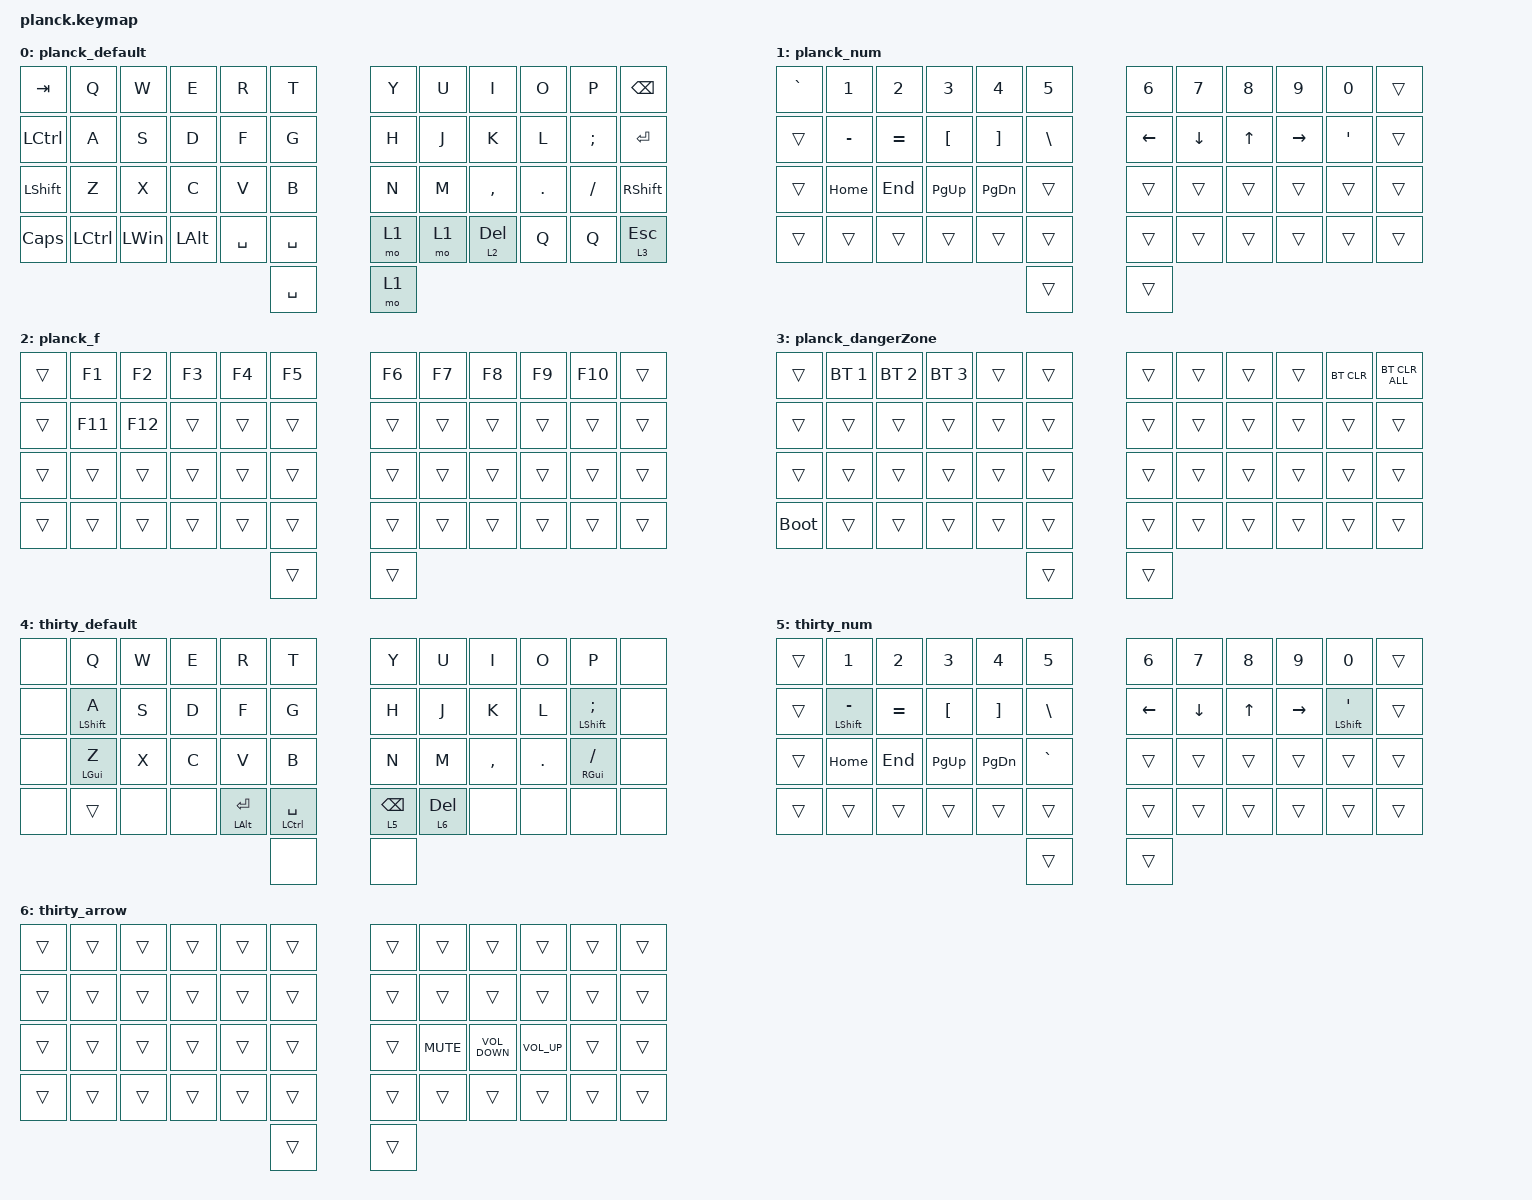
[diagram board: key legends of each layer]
/*
* Copyright (c) 2021 The ZMK Contributors
*
* SPDX-License-Identifier: MIT
*/

#include <behaviors.dtsi>
#include <dt-bindings/zmk/bt.h>
#include <dt-bindings/zmk/keys.h>

#define Default_layer 0

/ {
    behaviors {
        hm: homerow_mods {
            compatible = "zmk,behavior-hold-tap";
            label = "homerow mods";
            #binding-cells = <2>;
            tapping_term_ms = <200>;
            flavor = "tap-preferred";
            bindings = <&kp>, <&kp>;
        };

        tm: thumb_mods {
            compatible = "zmk,behavior-hold-tap";
            label = "thumb mods";
            #binding-cells = <2>;
            tapping_term_ms = <200>;
            flavor = "tap-preferred";
            bindings = <&kp>, <&kp>;
        };
    };

    combos {
        compatible = "zmk,combos";

        forty2thirty {
            bindings = <&tog 4>;
            key-positions = <11 23 35>;
        };

        tab {
            bindings = <&kp TAB>;
            key-positions = <16 15>;
        };

        f1 {
            bindings = <&kp F1>;
            key-positions = <1 13>;
        };

        f2 {
            bindings = <&kp F2>;
            key-positions = <2 14>;
        };

        f3 {
            bindings = <&kp F3>;
            key-positions = <3 15>;
        };

        f4 {
            bindings = <&kp F4>;
            key-positions = <4 16>;
        };

        f5 {
            bindings = <&kp F5>;
            key-positions = <5 17>;
        };

        f6 {
            bindings = <&kp F6>;
            key-positions = <6 18>;
        };

        f7 {
            bindings = <&kp F7>;
            key-positions = <7 19>;
        };

        f8 {
            bindings = <&kp F8>;
            key-positions = <8 20>;
        };

        f9 {
            bindings = <&kp F9>;
            key-positions = <9 21>;
        };

        f10 {
            bindings = <&kp F10>;
            key-positions = <10 22>;
        };

        f11 {
            bindings = <&kp F11>;
            key-positions = <13 25>;
        };

        f12 {
            bindings = <&kp F12>;
            key-positions = <14 26>;
        };

        home {
            bindings = <&kp HOME>;
            key-positions = <25 26>;
        };

        end {
            bindings = <&kp END>;
            key-positions = <26 27>;
        };

        pgup {
            bindings = <&kp PG_UP>;
            key-positions = <27 28>;
        };

        pgdn {
            bindings = <&kp PG_DN>;
            key-positions = <28 29>;
        };

        esc {
            bindings = <&kp ESC>;
            key-positions = <1 2>;
        };

        shift {
            bindings = <&kp LEFT_SHIFT>;
            key-positions = <13 22>;
        };

        ctrl {
            bindings = <&kp LCTRL>;
            key-positions = <16 19>;
        };

        gui {
            bindings = <&kp LEFT_GUI>;
            key-positions = <21 14>;
        };

        alt {
            bindings = <&kp LEFT_ALT>;
            key-positions = <15 20>;
        };
    };

    macros {
        tap_ctrl_twice: tap_ctrl_twice {
            compatible = "zmk,behavior-macro";
            #binding-cells = <0>;
            bindings = <&macro_tap>, <&kp LCTRL &kp LCTRL>;

            label = "TAP_CTRL_TWICE";
            wait-ms = <20>;
            tap-ms = <20>;
        };
    };

    keymap {
        compatible = "zmk,keymap";

        planck_default {
            bindings = <
&kp TAB       &kp Q      &kp W         &kp E         &kp R      &kp T      &kp Y  &kp U  &kp I      &kp O    &kp P      &kp BSPC
&kp LCTRL     &kp A      &kp S         &kp D         &kp F      &kp G      &kp H  &kp J  &kp K      &kp L    &kp SEMI   &kp ENTER
&kp LSHIFT    &kp Z      &kp X         &kp C         &kp V      &kp B      &kp N  &kp M  &kp COMMA  &kp DOT  &kp SLASH  &kp RSHIFT
&kp CAPSLOCK  &kp LCTRL  &kp LEFT_WIN  &kp LEFT_ALT  &kp SPACE  &kp SPACE  &mo 1  &mo 1  &lt 2 DEL  &kp Q    &kp Q      &lt 3 ESC
                                                                &kp SPACE  &mo 1
            >;
        };

        planck_num {
            bindings = <
&kp GRAVE  &kp N1     &kp N2     &kp N3     &kp N4     &kp N5    &kp N6    &kp N7    &kp N8  &kp N9     &kp N0   &trans
&trans     &kp MINUS  &kp EQUAL  &kp LBKT   &kp RBKT   &kp BSLH  &kp LEFT  &kp DOWN  &kp UP  &kp RIGHT  &kp SQT  &trans
&trans     &kp HOME   &kp END    &kp PG_UP  &kp PG_DN  &trans    &trans    &trans    &trans  &trans     &trans   &trans
&trans     &trans     &trans     &trans     &trans     &trans    &trans    &trans    &trans  &trans     &trans   &trans
                                                       &trans    &trans
            >;
        };

        planck_f {
            bindings = <
&trans  &kp F1   &kp F2   &kp F3  &kp F4  &kp F5  &kp F6  &kp F7  &kp F8  &kp F9  &kp F10  &trans
&trans  &kp F11  &kp F12  &trans  &trans  &trans  &trans  &trans  &trans  &trans  &trans   &trans
&trans  &trans   &trans   &trans  &trans  &trans  &trans  &trans  &trans  &trans  &trans   &trans
&trans  &trans   &trans   &trans  &trans  &trans  &trans  &trans  &trans  &trans  &trans   &trans
                                          &trans  &trans
            >;
        };

        planck_dangerZone {
            bindings = <
&trans       &bt BT_SEL 1  &bt BT_SEL 2  &bt BT_SEL 3  &trans  &trans  &trans  &trans  &trans  &trans  &bt BT_CLR  &bt BT_CLR_ALL
&trans       &trans        &trans        &trans        &trans  &trans  &trans  &trans  &trans  &trans  &trans      &trans
&trans       &trans        &trans        &trans        &trans  &trans  &trans  &trans  &trans  &trans  &trans      &trans
&bootloader  &trans        &trans        &trans        &trans  &trans  &trans  &trans  &trans  &trans  &trans      &trans
                                                               &trans  &trans
            >;
        };

        thirty_default {
            bindings = <
&none  &kp Q             &kp W  &kp E  &kp R               &kp T            &kp Y            &kp U      &kp I      &kp O    &kp P                &none
&none  &hm LEFT_SHIFT A  &kp S  &kp D  &kp F               &kp G            &kp H            &kp J      &kp K      &kp L    &hm LEFT_SHIFT SEMI  &none
&none  &hm LEFT_GUI Z    &kp X  &kp C  &kp V               &kp B            &kp N            &kp M      &kp COMMA  &kp DOT  &hm RIGHT_GUI FSLH   &none
&none  &trans            &none  &none  &tm LEFT_ALT ENTER  &tm LCTRL SPACE  &lt 5 BACKSPACE  &lt 6 DEL  &none      &none    &none                &none
                                                           &none            &none
            >;
        };

        thirty_num {
            bindings = <
&trans  &kp N1                &kp N2     &kp N3     &kp N4     &kp N5     &kp N6    &kp N7    &kp N8  &kp N9     &kp N0              &trans
&trans  &hm LEFT_SHIFT MINUS  &kp EQUAL  &kp LBKT   &kp RBKT   &kp BSLH   &kp LEFT  &kp DOWN  &kp UP  &kp RIGHT  &hm LEFT_SHIFT SQT  &trans
&trans  &kp HOME              &kp END    &kp PG_UP  &kp PG_DN  &kp GRAVE  &trans    &trans    &trans  &trans     &trans              &trans
&trans  &trans                &trans     &trans     &trans     &trans     &trans    &trans    &trans  &trans     &trans              &trans
                                                               &trans     &trans
            >;
        };

        thirty_arrow {
            bindings = <
&trans  &trans  &trans  &trans  &trans  &trans  &trans  &trans      &trans             &trans           &trans  &trans
&trans  &trans  &trans  &trans  &trans  &trans  &trans  &trans      &trans             &trans           &trans  &trans
&trans  &trans  &trans  &trans  &trans  &trans  &trans  &kp C_MUTE  &kp C_VOLUME_DOWN  &kp C_VOLUME_UP  &trans  &trans
&trans  &trans  &trans  &trans  &trans  &trans  &trans  &trans      &trans             &trans           &trans  &trans
                                        &trans  &trans
            >;
        };
    };
};
